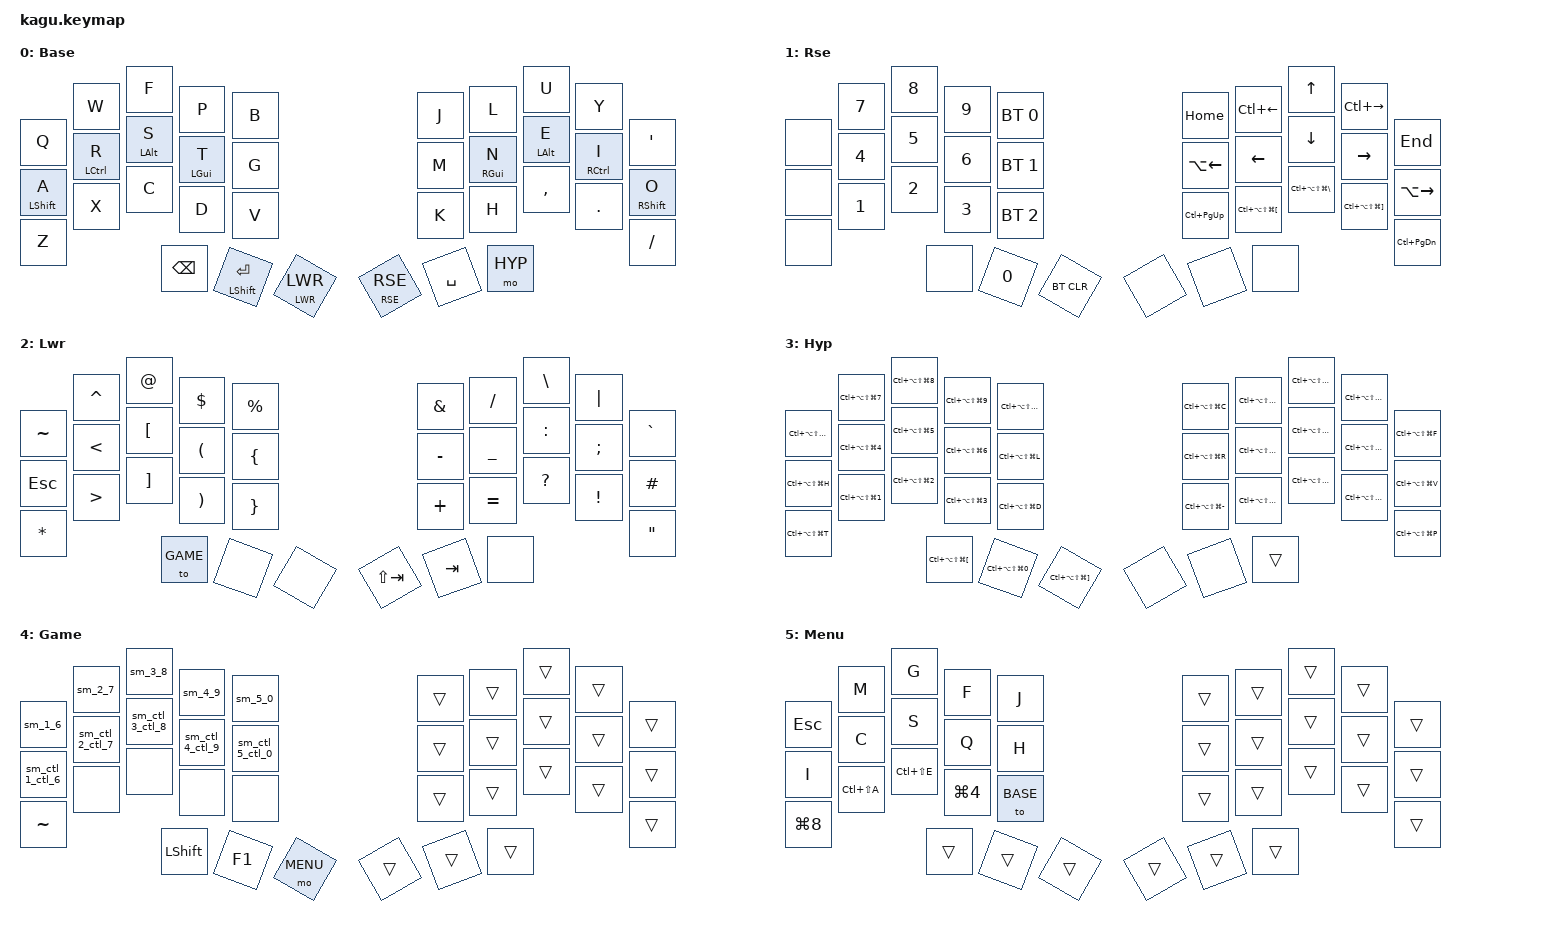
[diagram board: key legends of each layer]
// Generated from keymap.txt by keymap/generate.py. Do not edit.

#include <behaviors.dtsi>
#include <dt-bindings/zmk/keys.h>
#include <dt-bindings/zmk/bt.h>
#include <dt-bindings/zmk/outputs.h>
#include <dt-bindings/zmk/pointing.h>

#define BASE  0
#define RSE   1
#define LWR   2
#define HYP   3
#define GAME  4
#define MENU  5

// Key positions (see the matrix transform in kagu.dtsi):
//   0  1  2  3  4     5  6  7  8  9
//  10 11 12 13 14    15 16 17 18 19
//  20 21 22 23 24    25 26 27 28 29
//        30 31 32    33 34 35
#define KEYS_L 0 1 2 3 4 10 11 12 13 14 20 21 22 23 24
#define KEYS_R 5 6 7 8 9 15 16 17 18 19 25 26 27 28 29
#define THUMBS 30 31 32 33 34 35

// Thumb layer-taps: tapping a thumb then holding it repeats the tap
// (hold Space or Backspace) instead of turning on the layer.
&lt {
	quick-tap-ms = <175>;
};

/ {
	behaviors {
		// Home row mods. A mod only fires when the next key is on the other
		// hand (or a thumb), so same-hand rolls like "st" stay letters.
		hml: homerow_mods_left {
			compatible = "zmk,behavior-hold-tap";
			#binding-cells = <2>;
			flavor = "balanced";
			tapping-term-ms = <280>;
			quick-tap-ms = <175>;
			require-prior-idle-ms = <150>;
			bindings = <&kp>, <&kp>;
			hold-trigger-key-positions = <KEYS_R THUMBS>;
			hold-trigger-on-release;
		};

		hmr: homerow_mods_right {
			compatible = "zmk,behavior-hold-tap";
			#binding-cells = <2>;
			flavor = "balanced";
			tapping-term-ms = <280>;
			quick-tap-ms = <175>;
			require-prior-idle-ms = <150>;
			bindings = <&kp>, <&kp>;
			hold-trigger-key-positions = <KEYS_L THUMBS>;
			hold-trigger-on-release;
		};

		// One-shot keys (`LSHFT/LSHFT`, `sym/sym`): a tap applies the modifier
		// or layer to the next key press, a hold is momentary.
		osm: oneshot_mod_tap {
			compatible = "zmk,behavior-hold-tap";
			#binding-cells = <2>;
			flavor = "tap-preferred";
			tapping-term-ms = <200>;
			bindings = <&kp>, <&sk>;
		};

		osl: oneshot_layer_tap {
			compatible = "zmk,behavior-hold-tap";
			#binding-cells = <2>;
			flavor = "tap-preferred";
			tapping-term-ms = <200>;
			bindings = <&mo>, <&sl>;
		};

		sm_1_6: shift_morph_1_6 {
			compatible = "zmk,behavior-mod-morph";
			#binding-cells = <0>;
			bindings = <&kp N1>, <&kp N6>;
			mods = <(MOD_LSFT|MOD_RSFT)>;
		};

		sm_2_7: shift_morph_2_7 {
			compatible = "zmk,behavior-mod-morph";
			#binding-cells = <0>;
			bindings = <&kp N2>, <&kp N7>;
			mods = <(MOD_LSFT|MOD_RSFT)>;
		};

		sm_3_8: shift_morph_3_8 {
			compatible = "zmk,behavior-mod-morph";
			#binding-cells = <0>;
			bindings = <&kp N3>, <&kp N8>;
			mods = <(MOD_LSFT|MOD_RSFT)>;
		};

		sm_4_9: shift_morph_4_9 {
			compatible = "zmk,behavior-mod-morph";
			#binding-cells = <0>;
			bindings = <&kp N4>, <&kp N9>;
			mods = <(MOD_LSFT|MOD_RSFT)>;
		};

		sm_5_0: shift_morph_5_0 {
			compatible = "zmk,behavior-mod-morph";
			#binding-cells = <0>;
			bindings = <&kp N5>, <&kp N0>;
			mods = <(MOD_LSFT|MOD_RSFT)>;
		};

		sm_ctl_1_ctl_6: shift_morph_ctl_1_ctl_6 {
			compatible = "zmk,behavior-mod-morph";
			#binding-cells = <0>;
			bindings = <&kp LC(N1)>, <&kp LC(N6)>;
			mods = <(MOD_LSFT|MOD_RSFT)>;
		};

		sm_ctl_2_ctl_7: shift_morph_ctl_2_ctl_7 {
			compatible = "zmk,behavior-mod-morph";
			#binding-cells = <0>;
			bindings = <&kp LC(N2)>, <&kp LC(N7)>;
			mods = <(MOD_LSFT|MOD_RSFT)>;
		};

		sm_ctl_3_ctl_8: shift_morph_ctl_3_ctl_8 {
			compatible = "zmk,behavior-mod-morph";
			#binding-cells = <0>;
			bindings = <&kp LC(N3)>, <&kp LC(N8)>;
			mods = <(MOD_LSFT|MOD_RSFT)>;
		};

		sm_ctl_4_ctl_9: shift_morph_ctl_4_ctl_9 {
			compatible = "zmk,behavior-mod-morph";
			#binding-cells = <0>;
			bindings = <&kp LC(N4)>, <&kp LC(N9)>;
			mods = <(MOD_LSFT|MOD_RSFT)>;
		};

		sm_ctl_5_ctl_0: shift_morph_ctl_5_ctl_0 {
			compatible = "zmk,behavior-mod-morph";
			#binding-cells = <0>;
			bindings = <&kp LC(N5)>, <&kp LC(N0)>;
			mods = <(MOD_LSFT|MOD_RSFT)>;
		};
	};



	keymap {
		compatible = "zmk,keymap";

		base_layer {
			display-name = "Base";
			bindings = <
   &kp Q        &kp W        &kp F       &kp P         &kp B           &kp J        &kp L       &kp U       &kp Y        &kp SQT
   &hml LSHFT A &hml LCTRL R &hml LALT S &hml LGUI T   &kp G           &kp M        &hmr RGUI N &hmr LALT E &hmr RCTRL I &hmr RSHFT O
   &kp Z        &kp X        &kp C       &kp D         &kp V           &kp K        &kp H       &kp COMMA   &kp DOT      &kp FSLH
                             &kp BSPC    &mt LSHFT RET &osl LWR LWR    &osl RSE RSE &kp SPACE   &mo HYP
			>;
		};

		rse_layer {
			display-name = "Rse";
			bindings = <
   &none &kp N7 &kp N8 &kp N9 &bt BT_SEL 0    &kp HOME      &kp LC(LEFT)             &kp UP                   &kp LC(RIGHT)            &kp END
   &none &kp N4 &kp N5 &kp N6 &bt BT_SEL 1    &kp LA(LEFT)  &kp LEFT                 &kp DOWN                 &kp RIGHT                &kp LA(RIGHT)
   &none &kp N1 &kp N2 &kp N3 &bt BT_SEL 2    &kp LC(PG_UP) &kp LC(LA(LS(LG(LBKT)))) &kp LC(LA(LS(LG(BSLH)))) &kp LC(LA(LS(LG(RBKT)))) &kp LC(PG_DN)
                &none  &kp N0 &bt BT_CLR      &none         &none                    &none
			>;
		};

		lwr_layer {
			display-name = "Lwr";
			bindings = <
   &kp TILDE &kp CARET &kp AT   &kp DLLR &kp PRCNT    &kp AMPS    &kp FSLH  &kp BSLH  &kp PIPE &kp GRAVE
   &kp ESC   &kp LT    &kp LBKT &kp LPAR &kp LBRC     &kp MINUS   &kp UNDER &kp COLON &kp SEMI &kp HASH
   &kp STAR  &kp GT    &kp RBKT &kp RPAR &kp RBRC     &kp PLUS    &kp EQUAL &kp QMARK &kp EXCL &kp DQT
                       &to GAME &none    &none        &kp LS(TAB) &kp TAB   &none
			>;
		};

		hyp_layer {
			display-name = "Hyp";
			bindings = <
   &kp LC(LA(LS(LG(LEFT)))) &kp LC(LA(LS(LG(N7)))) &kp LC(LA(LS(LG(N8))))   &kp LC(LA(LS(LG(N9)))) &kp LC(LA(LS(LG(RIGHT))))    &kp LC(LA(LS(LG(C))))     &kp LC(LA(LS(LG(Q))))     &kp LC(LA(LS(LG(UP))))   &kp LC(LA(LS(LG(O))))     &kp LC(LA(LS(LG(F))))
   &kp LC(LA(LS(LG(H))))    &kp LC(LA(LS(LG(N4)))) &kp LC(LA(LS(LG(N5))))   &kp LC(LA(LS(LG(N6)))) &kp LC(LA(LS(LG(L))))        &kp LC(LA(LS(LG(R))))     &kp LC(LA(LS(LG(LEFT))))  &kp LC(LA(LS(LG(DOWN)))) &kp LC(LA(LS(LG(RIGHT)))) &kp LC(LA(LS(LG(V))))
   &kp LC(LA(LS(LG(T))))    &kp LC(LA(LS(LG(N1)))) &kp LC(LA(LS(LG(N2))))   &kp LC(LA(LS(LG(N3)))) &kp LC(LA(LS(LG(D))))        &kp LC(LA(LS(LG(MINUS)))) &kp LC(LA(LS(LG(EQUAL)))) &kp LC(LA(LS(LG(W))))    &kp LC(LA(LS(LG(M))))     &kp LC(LA(LS(LG(P))))
                                                   &kp LC(LA(LS(LG(LBKT)))) &kp LC(LA(LS(LG(N0)))) &kp LC(LA(LS(LG(RBKT))))     &none                     &none                     &trans
			>;
		};

		game_layer {
			display-name = "Game";
			bindings = <
   &sm_1_6         &sm_2_7         &sm_3_8         &sm_4_9         &sm_5_0            &trans &trans &trans &trans &trans
   &sm_ctl_1_ctl_6 &sm_ctl_2_ctl_7 &sm_ctl_3_ctl_8 &sm_ctl_4_ctl_9 &sm_ctl_5_ctl_0    &trans &trans &trans &trans &trans
   &kp TILDE       &none           &none           &none           &none              &trans &trans &trans &trans &trans
                                   &kp LSHFT       &kp F1          &mo MENU           &trans &trans &trans
			>;
		};

		menu_layer {
			display-name = "Menu";
			bindings = <
   &kp ESC    &kp M         &kp G         &kp F      &kp J       &trans &trans &trans &trans &trans
   &kp I      &kp C         &kp S         &kp Q      &kp H       &trans &trans &trans &trans &trans
   &kp LG(N8) &kp LC(LS(A)) &kp LC(LS(E)) &kp LG(N4) &to BASE    &trans &trans &trans &trans &trans
                            &trans        &trans     &trans      &trans &trans &trans
			>;
		};
	};
};
